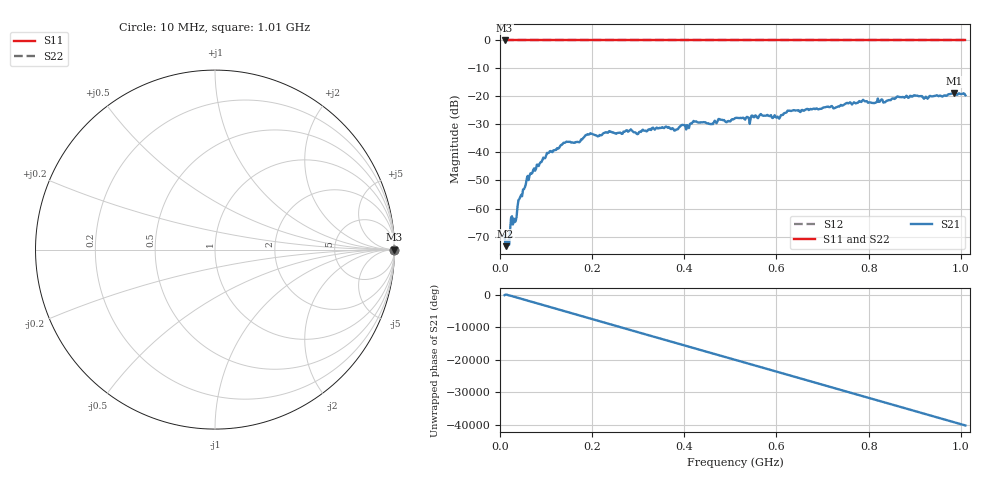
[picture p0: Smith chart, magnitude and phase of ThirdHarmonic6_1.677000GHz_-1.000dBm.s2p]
! 8/16/2025 8:07:23 PM
! C:\ANRITSUVNA\TEMP\TEMP.S2P
! CHANNEL.1
! TR.MEASUREMENT
! RAW.DATA
! RF.CORRECTION.OFF
! AVERAGING.OFF
! IF.BANDWIDTH: 5KHZ
! SWEEPTYPE:  FREQ.SWEEP(Linear)
! Reference Plane Port Info
! PORT:  PORT1  PORT2
! DISTANCE:  0  m  0  m
! TIME:  0  s  0  s
! PHASE.OFFSET:  0  deg.  0  deg.
! LOSS:  0  dB  0  dB
! REF.LOSS:  0  dB  0  dB
! REF.FREQ:  0  Hz  0  Hz
! Power Info
! POWER:  -20  dBm  -20  dBm
! EFF.POWER:  -20  dBm  -20  dBm
! SOURCE.ATTEN:  0  dB  0  dB
! TEST.ATTEN:  0  dB  0  dB
# GHZ S RI R 50.0
! FREQ.GHZ  S11RE  S11IM  S21RE  S21IM  S12RE  S12IM  S22RE  S22IM
!; PortSelection: Port_12
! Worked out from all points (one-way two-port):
!   501 points, 10 MHz to 1.01 GHz, reference 50 ohm
!   highest |S21| = -18.83 dB at 986 MHz (marker M1); lowest = -73.4 dB at 12 MHz (marker M2)
!   lowest |S11| = 0.0 dB at 10 MHz (marker M3)
!   |S11| at or under -10 dB: nowhere
!   |S22| runs from 0.0 to 0.0 dB; largest |S21 - S12| = 1.1
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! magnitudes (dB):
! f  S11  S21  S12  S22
! 10 MHz  0.0  -69.5  0.0  0.0
! 12 MHz  0.0  -73.4  0.0  0.0
! 16 MHz  0.0  -71.4  0.0  0.0
! 26 MHz  0.0  -62.7  0.0  0.0
! 32 MHz  0.0  -64.9  0.0  0.0
! 42 MHz  0.0  -56.6  0.0  0.0
! 70 MHz  0.0  -47.3  0.0  0.0
! 106 MHz  0.0  -40.1  0.0  0.0
! 142 MHz  0.0  -36.4  0.0  0.0
! 178 MHz  0.0  -35.4  0.0  0.0
! 194 MHz  0.0  -33.5  0.0  0.0
! 344 MHz  0.0  -31.4  0.0  0.0
! 382 MHz  0.0  -31.8  0.0  0.0
! 422 MHz  0.0  -28.9  0.0  0.0
! 458 MHz  0.0  -29.9  0.0  0.0
! 510 MHz  0.0  -27.8  0.0  0.0
! 604 MHz  0.0  -27.5  0.0  0.0
! 628 MHz  0.0  -25.1  0.0  0.0
! 678 MHz  0.0  -24.5  0.0  0.0
! 844 MHz  0.0  -21.3  0.0  0.0
! 986 MHz  0.0  -18.8  0.0  0.0
! 1.01 GHz  0.0  -19.6  0.0  0.0
